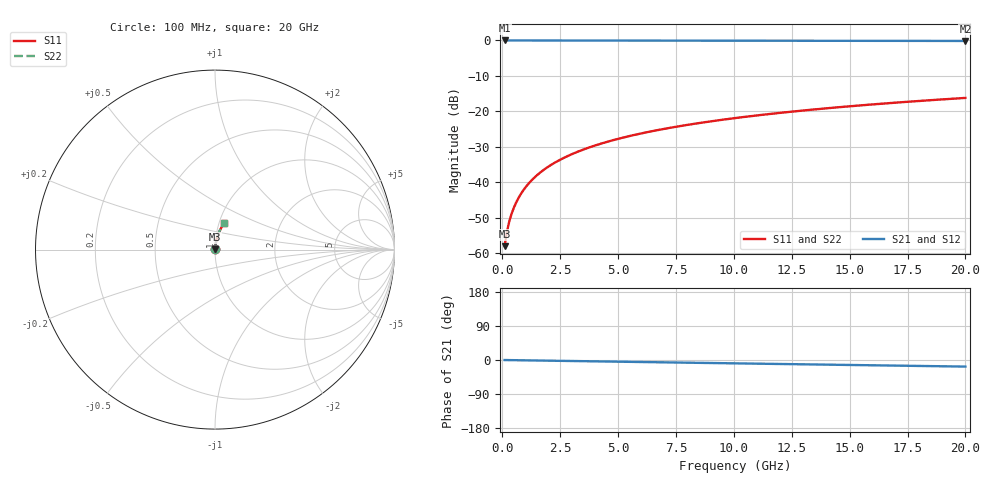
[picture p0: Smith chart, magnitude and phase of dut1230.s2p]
! Touchstone file exported from HFSS 2026.1.0
!  File:  C:/ffzhzh/LocalFiles/Ansys_Project_Files/temp_train_BSMRDL_1230_1783176968_55132.aedt
!  Generated:  10:57:23 PM Jul  4, 2026
!  Design:  BSMRDL
!  Project:  temp_train_BSMRDL_1230_1783176968_55132
! Variables:
!  h_bsmrdl = 4.48um
!  h_ox = 20um
!  h_rdl = 5um
!  h_sub = 80um
!  h_tmrdl = 5um
!  h_tsv = 80um
!  h_via = 3um
!  l_bsmrdl = 228.82um
!  l_sub = 628.82um
!  l_tmrdl = 200um
!  m_sub = 200um
!  pitch = 52.05um
!  r_tsv = 6um
!  s_tmrdl = 10um
!  w_bsmrdl = 27.88um
!  w_sub = 500um
!  w_tmrdl = 12um
!  x_tsv_center1 = 206um
!  x_tsv_center2 = 462.7um
!  x_tsv_center3 = 674.7um
!  x_tsv_center4 = 931.4um
!  x_tsv_center5 = 1143.4um
!  x_tsv_center6 = 1400.1um
# GHz S MA R 50.000000
! Terminal data exported
! Port[1] = BSM_RDL1_1_T1
! Port[2] = BSM_RDL1_1_T2
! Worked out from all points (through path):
!   200 points, 100 MHz to 20 GHz, reference 50 ohm
!   highest |S21| = -0.01 dB at 100 MHz (marker M1); lowest = -0.1 dB at 20 GHz (marker M2)
!   group delay of S21, straight-line fit = 2.41 ps
!   lowest |S11| = -58.0 dB at 100 MHz (marker M3), VSWR 1.00, Z = 50.1 + j0.0926 ohm
!   |S11| at or under -10 dB: start of sweep to end of sweep
!   |S22| runs from -58.0 to -16.2 dB; largest |S21 - S12| = 1.8e-15
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0.1  0.001258 47.3  0.9991 -0.1  0.9991 -0.1  0.001258 47.3
! Gamma 0 0 0 0
! Port Impedance 50 0 50 0
0.2  0.002012 62.6  0.9991 -0.2  0.9991 -0.2  0.002012 62.6
0.3  0.002794 69.4  0.999 -0.3  0.999 -0.3  0.002794 69.4
0.4  0.003586 73.4  0.999 -0.4  0.999 -0.4  0.003586 73.4
0.5  0.004388 76.1  0.999 -0.5  0.999 -0.5  0.004388 76.1
0.6  0.005197 77.9  0.9989 -0.5  0.9989 -0.5  0.005197 77.9
0.8  0.006831 80.3  0.9989 -0.7  0.9989 -0.7  0.006831 80.3
1.1  0.009299 82.1  0.9988 -1.0  0.9988 -1.0  0.009299 82.1
1.5  0.0126 83.2  0.9987 -1.4  0.9987 -1.4  0.0126 83.2
1.8  0.01507 83.6  0.9986 -1.6  0.9986 -1.6  0.01507 83.6
2.1  0.01754 83.8  0.9985 -1.9  0.9985 -1.9  0.01754 83.8
2.7  0.02245 83.8  0.9983 -2.4  0.9983 -2.4  0.02245 83.8
3.5  0.02894 83.5  0.9979 -3.1  0.9979 -3.1  0.02894 83.5
4.2  0.03457 83.1  0.9975 -3.8  0.9975 -3.8  0.03457 83.1
5  0.04096 82.6  0.997 -4.5  0.997 -4.5  0.04096 82.6
5.9  0.04808 81.9  0.9965 -5.3  0.9965 -5.3  0.04808 81.9
6.8  0.05516 81.3  0.9959 -6.0  0.9959 -6.0  0.05516 81.3
8.3  0.06686 80.2  0.9949 -7.3  0.9949 -7.3  0.06686 80.2
10.1  0.08078 78.8  0.9935 -8.9  0.9935 -8.9  0.08078 78.8
13.4  0.1059 76.2  0.9906 -11.8  0.9906 -11.8  0.1059 76.2
16.7  0.1306 73.6  0.9872 -14.6  0.9872 -14.6  0.1306 73.6
20  0.1547 70.9  0.9834 -17.4  0.9834 -17.4  0.1547 70.9
